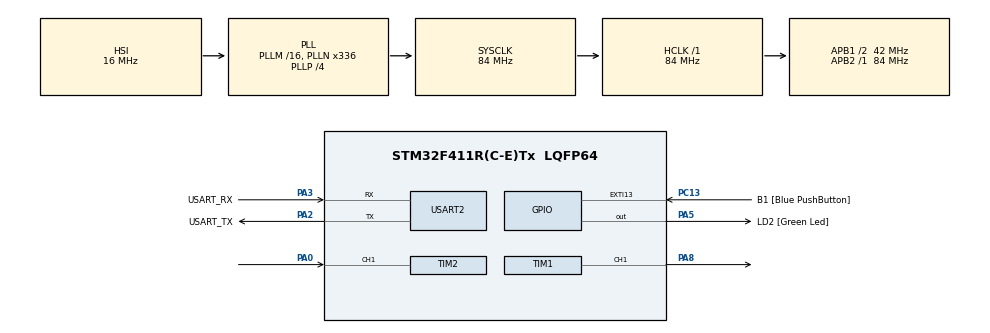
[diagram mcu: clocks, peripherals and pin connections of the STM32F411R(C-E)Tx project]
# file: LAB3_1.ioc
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Dma.Request0=TIM2_CH1
Dma.TIM2_CH1.0.Direction=DMA_PERIPH_TO_MEMORY
Dma.TIM2_CH1.0.FIFOMode=DMA_FIFOMODE_DISABLE
Dma.TIM2_CH1.0.Instance=DMA1_Stream5
Dma.TIM2_CH1.0.MemDataAlignment=DMA_MDATAALIGN_WORD
Dma.TIM2_CH1.0.MemInc=DMA_MINC_ENABLE
Dma.TIM2_CH1.0.Mode=DMA_CIRCULAR
Dma.TIM2_CH1.0.PeriphDataAlignment=DMA_PDATAALIGN_WORD
Dma.TIM2_CH1.0.PeriphInc=DMA_PINC_DISABLE
Dma.TIM2_CH1.0.Priority=DMA_PRIORITY_LOW
Mcu.Family=STM32F4
Mcu.Name=STM32F411R(C-E)Tx
Mcu.Package=LQFP64
NVIC.DMA1_Stream5_IRQn=true\:0\:0\:false\:false\:true\:false\:true\:true
NVIC.PriorityGroup=NVIC_PRIORITYGROUP_0
NVIC.TIM2_IRQn=true\:0\:0\:false\:false\:true\:true\:true\:true
PA0-WKUP.Signal=S_TIM2_CH1_ETR
PA13.GPIO_Label=TMS
PA13.Mode=Serial_Wire
PA13.Signal=SYS_JTMS-SWDIO
PA14.GPIO_Label=TCK
PA14.Mode=Serial_Wire
PA14.Signal=SYS_JTCK-SWCLK
PA2.GPIO_Label=USART_TX
PA2.Mode=Asynchronous
PA2.Signal=USART2_TX
PA3.GPIO_Label=USART_RX
PA3.Mode=Asynchronous
PA3.Signal=USART2_RX
PA5.GPIO_Label=LD2 [Green Led]
PA5.Signal=GPIO_Output
PA8.Signal=S_TIM1_CH1
PB3.GPIO_Label=SWO
PB3.Signal=SYS_JTDO-SWO
PC13-ANTI_TAMP.GPIO_Label=B1 [Blue PushButton]
PC13-ANTI_TAMP.GPIO_ModeDefaultEXTI=GPIO_MODE_IT_FALLING
PC13-ANTI_TAMP.Signal=GPXTI13
PC14-OSC32_IN.Mode=LSE-External-Oscillator
PC14-OSC32_IN.Signal=RCC_OSC32_IN
PC15-OSC32_OUT.Mode=LSE-External-Oscillator
PC15-OSC32_OUT.Signal=RCC_OSC32_OUT
PH0\ -\ OSC_IN.Mode=HSE-External-Clock-Source
PH0\ -\ OSC_IN.Signal=RCC_OSC_IN
PH1\ -\ OSC_OUT.Mode=HSE-External-Clock-Source
PH1\ -\ OSC_OUT.Signal=RCC_OSC_OUT
ProjectManager.HeapSize=0x200
ProjectManager.StackSize=0x400
ProjectManager.TargetToolchain=STM32CubeIDE
RCC.48MHZClocksFreq_Value=84000000
RCC.AHBFreq_Value=84000000
RCC.APB1CLKDivider=RCC_HCLK_DIV2
RCC.APB1Freq_Value=42000000
RCC.APB1TimFreq_Value=84000000
RCC.APB2Freq_Value=84000000
RCC.APB2TimFreq_Value=84000000
RCC.CortexFreq_Value=84000000
RCC.FLatency-AdvancedSettings=FLASH_LATENCY_2
RCC.HCLKFreq_Value=84000000
RCC.HSE_VALUE=8000000
RCC.HSI_VALUE=16000000
RCC.PLLN=336
RCC.PLLP=RCC_PLLP_DIV4
RCC.SYSCLKFreq_VALUE=84000000
RCC.SYSCLKSource=RCC_SYSCLKSOURCE_PLLCLK
RCC.VCOOutputFreq_Value=336000000
SH.S_TIM1_CH1.0=TIM1_CH1,PWM Generation1 CH1
SH.S_TIM2_CH1_ETR.0=TIM2_CH1,Input_Capture1_from_TI1
TIM1.Channel-PWM\ Generation1\ CH1=TIM_CHANNEL_1
TIM1.Period=1000
TIM1.Prescaler=83
TIM1.Pulse-PWM\ Generation1\ CH1=0
TIM2.Channel-Input_Capture1_from_TI1=TIM_CHANNEL_1
TIM2.ICFilter_CH1=10
TIM2.Prescaler=83
USART2.VirtualMode=VM_ASYNC
VP_TIM1_VS_ClockSourceINT.Mode=Internal
VP_TIM2_VS_ClockSourceINT.Mode=Internal
board=NUCLEO-F411RE

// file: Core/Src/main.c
/* USER CODE BEGIN Header */
/**
 ******************************************************************************
 * @file           : main.c
 * @brief          : Main program body
 ******************************************************************************
 * @attention
 *
 * Copyright (c) 2023 STMicroelectronics.
 * All rights reserved.
 *
 * This software is licensed under terms that can be found in the LICENSE file
 * in the root directory of this software component.
 * If no LICENSE file comes with this software, it is provided AS-IS.
 *
 ******************************************************************************
 */
/* USER CODE END Header */
#include "main.h"

/* USER CODE BEGIN Includes */
#define IC_BUFFER_SIZE 20
/* USER CODE END Includes */

TIM_HandleTypeDef htim1;
TIM_HandleTypeDef htim2;
DMA_HandleTypeDef hdma_tim2_ch1;

UART_HandleTypeDef huart2;

/* USER CODE BEGIN PV */
uint8_t MotorSetDuty = 100;
float Duty;
uint8_t MotorControlEnable = 0;

uint32_t InputCaptureBuffer[IC_BUFFER_SIZE];
float avg;
float SumError=0;

float MotorReadRPM;
float MotorSetRPM;

float Kp=1;
float Ki=0;
float eintegral=0;
float debug=9;
/* USER CODE END PV */

void SystemClock_Config(void);
static void MX_GPIO_Init(void);
static void MX_DMA_Init(void);
static void MX_USART2_UART_Init(void);
static void MX_TIM1_Init(void);
static void MX_TIM2_Init(void);
/* USER CODE BEGIN PFP */
float IC_Calc_Period();
float ConvertRPM(float input);
float ConvertDuty(float input);
float Control(float setRPM,float readRPM);
/* USER CODE END PFP */

int main(void)
{

  /* MCU Configuration--------------------------------------------------------*/

  /* Reset of all peripherals, Initializes the Flash interface and the Systick. */
  HAL_Init();

  /* Configure the system clock */
  SystemClock_Config();

  /* Initialize all configured peripherals */
  MX_GPIO_Init();
  MX_DMA_Init();
  MX_USART2_UART_Init();
  MX_TIM1_Init();
  MX_TIM2_Init();
  /* USER CODE BEGIN 2 */
	HAL_TIM_Base_Start(&htim1);
	HAL_TIM_PWM_Start(&htim1, TIM_CHANNEL_1);

	HAL_TIM_Base_Start(&htim2);
	HAL_TIM_IC_Start_DMA(&htim2, TIM_CHANNEL_1, InputCaptureBuffer,
			IC_BUFFER_SIZE);
  /* USER CODE END 2 */

  /* Infinite loop */
	while (1) {

    /* USER CODE BEGIN 3 */

		static uint32_t timestamp = 0;
		if (HAL_GetTick() >= timestamp) {
			timestamp = HAL_GetTick() + 5;
			avg=IC_Calc_Period();
			__HAL_TIM_SET_COMPARE(&htim1, TIM_CHANNEL_1, Duty * 10);
			MotorReadRPM=ConvertRPM(avg);
			switch(MotorControlEnable){
			case 0: Duty=MotorSetDuty;
					SumError=0;
				break;
			case 1:Duty=Control(MotorSetRPM, MotorReadRPM);
				break;
			case 2:if(MotorSetRPM>=20)MotorSetRPM=9;
				else MotorSetRPM+=0.1;
				Duty=Control(MotorSetRPM, MotorReadRPM);
				break;
			}
		}
	}
  /* USER CODE END 3 */
}

void SystemClock_Config(void)
{
  RCC_OscInitTypeDef RCC_OscInitStruct = {0};
  RCC_ClkInitTypeDef RCC_ClkInitStruct = {0};

  /** Configure the main internal regulator output voltage
  */
  __HAL_RCC_PWR_CLK_ENABLE();
  __HAL_PWR_VOLTAGESCALING_CONFIG(PWR_REGULATOR_VOLTAGE_SCALE1);

  /** Initializes the RCC Oscillators according to the specified parameters
  * in the RCC_OscInitTypeDef structure.
  */
  RCC_OscInitStruct.OscillatorType = RCC_OSCILLATORTYPE_HSI;
  RCC_OscInitStruct.HSIState = RCC_HSI_ON;
  RCC_OscInitStruct.HSICalibrationValue = RCC_HSICALIBRATION_DEFAULT;
  RCC_OscInitStruct.PLL.PLLState = RCC_PLL_ON;
  RCC_OscInitStruct.PLL.PLLSource = RCC_PLLSOURCE_HSI;
  RCC_OscInitStruct.PLL.PLLM = 16;
  RCC_OscInitStruct.PLL.PLLN = 336;
  RCC_OscInitStruct.PLL.PLLP = RCC_PLLP_DIV4;
  RCC_OscInitStruct.PLL.PLLQ = 4;
  if (HAL_RCC_OscConfig(&RCC_OscInitStruct) != HAL_OK)
  {
    Error_Handler();
  }

  /** Initializes the CPU, AHB and APB buses clocks
  */
  RCC_ClkInitStruct.ClockType = RCC_CLOCKTYPE_HCLK|RCC_CLOCKTYPE_SYSCLK
                              |RCC_CLOCKTYPE_PCLK1|RCC_CLOCKTYPE_PCLK2;
  RCC_ClkInitStruct.SYSCLKSource = RCC_SYSCLKSOURCE_PLLCLK;
  RCC_ClkInitStruct.AHBCLKDivider = RCC_SYSCLK_DIV1;
  RCC_ClkInitStruct.APB1CLKDivider = RCC_HCLK_DIV2;
  RCC_ClkInitStruct.APB2CLKDivider = RCC_HCLK_DIV1;

  if (HAL_RCC_ClockConfig(&RCC_ClkInitStruct, FLASH_LATENCY_2) != HAL_OK)
  {
    Error_Handler();
  }
}

static void MX_TIM1_Init(void)
{

  TIM_ClockConfigTypeDef sClockSourceConfig = {0};
  TIM_MasterConfigTypeDef sMasterConfig = {0};
  TIM_OC_InitTypeDef sConfigOC = {0};
  TIM_BreakDeadTimeConfigTypeDef sBreakDeadTimeConfig = {0};

  htim1.Instance = TIM1;
  htim1.Init.Prescaler = 83;
  htim1.Init.CounterMode = TIM_COUNTERMODE_UP;
  htim1.Init.Period = 1000;
  htim1.Init.ClockDivision = TIM_CLOCKDIVISION_DIV1;
  htim1.Init.RepetitionCounter = 0;
  htim1.Init.AutoReloadPreload = TIM_AUTORELOAD_PRELOAD_DISABLE;
  if (HAL_TIM_Base_Init(&htim1) != HAL_OK)
  {
    Error_Handler();
  }
  sClockSourceConfig.ClockSource = TIM_CLOCKSOURCE_INTERNAL;
  if (HAL_TIM_ConfigClockSource(&htim1, &sClockSourceConfig) != HAL_OK)
  {
    Error_Handler();
  }
  if (HAL_TIM_PWM_Init(&htim1) != HAL_OK)
  {
    Error_Handler();
  }
  sMasterConfig.MasterOutputTrigger = TIM_TRGO_RESET;
  sMasterConfig.MasterSlaveMode = TIM_MASTERSLAVEMODE_DISABLE;
  if (HAL_TIMEx_MasterConfigSynchronization(&htim1, &sMasterConfig) != HAL_OK)
  {
    Error_Handler();
  }
  sConfigOC.OCMode = TIM_OCMODE_PWM1;
  sConfigOC.Pulse = 0;
  sConfigOC.OCPolarity = TIM_OCPOLARITY_HIGH;
  sConfigOC.OCNPolarity = TIM_OCNPOLARITY_HIGH;
  sConfigOC.OCFastMode = TIM_OCFAST_DISABLE;
  sConfigOC.OCIdleState = TIM_OCIDLESTATE_RESET;
  sConfigOC.OCNIdleState = TIM_OCNIDLESTATE_RESET;
  if (HAL_TIM_PWM_ConfigChannel(&htim1, &sConfigOC, TIM_CHANNEL_1) != HAL_OK)
  {
    Error_Handler();
  }
  sBreakDeadTimeConfig.OffStateRunMode = TIM_OSSR_DISABLE;
  sBreakDeadTimeConfig.OffStateIDLEMode = TIM_OSSI_DISABLE;
  sBreakDeadTimeConfig.LockLevel = TIM_LOCKLEVEL_OFF;
  sBreakDeadTimeConfig.DeadTime = 0;
  sBreakDeadTimeConfig.BreakState = TIM_BREAK_DISABLE;
  sBreakDeadTimeConfig.BreakPolarity = TIM_BREAKPOLARITY_HIGH;
  sBreakDeadTimeConfig.AutomaticOutput = TIM_AUTOMATICOUTPUT_DISABLE;
  if (HAL_TIMEx_ConfigBreakDeadTime(&htim1, &sBreakDeadTimeConfig) != HAL_OK)
  {
    Error_Handler();
  }
  HAL_TIM_MspPostInit(&htim1);

}

static void MX_TIM2_Init(void)
{

  TIM_ClockConfigTypeDef sClockSourceConfig = {0};
  TIM_MasterConfigTypeDef sMasterConfig = {0};
  TIM_IC_InitTypeDef sConfigIC = {0};

  htim2.Instance = TIM2;
  htim2.Init.Prescaler = 83;
  htim2.Init.CounterMode = TIM_COUNTERMODE_UP;
  htim2.Init.Period = 4294967295;
  htim2.Init.ClockDivision = TIM_CLOCKDIVISION_DIV1;
  htim2.Init.AutoReloadPreload = TIM_AUTORELOAD_PRELOAD_DISABLE;
  if (HAL_TIM_Base_Init(&htim2) != HAL_OK)
  {
    Error_Handler();
  }
  sClockSourceConfig.ClockSource = TIM_CLOCKSOURCE_INTERNAL;
  if (HAL_TIM_ConfigClockSource(&htim2, &sClockSourceConfig) != HAL_OK)
  {
    Error_Handler();
  }
  if (HAL_TIM_IC_Init(&htim2) != HAL_OK)
  {
    Error_Handler();
  }
  sMasterConfig.MasterOutputTrigger = TIM_TRGO_RESET;
  sMasterConfig.MasterSlaveMode = TIM_MASTERSLAVEMODE_DISABLE;
  if (HAL_TIMEx_MasterConfigSynchronization(&htim2, &sMasterConfig) != HAL_OK)
  {
    Error_Handler();
  }
  sConfigIC.ICPolarity = TIM_INPUTCHANNELPOLARITY_RISING;
  sConfigIC.ICSelection = TIM_ICSELECTION_DIRECTTI;
  sConfigIC.ICPrescaler = TIM_ICPSC_DIV1;
  sConfigIC.ICFilter = 10;
  if (HAL_TIM_IC_ConfigChannel(&htim2, &sConfigIC, TIM_CHANNEL_1) != HAL_OK)
  {
    Error_Handler();
  }

}

static void MX_USART2_UART_Init(void)
{

  huart2.Instance = USART2;
  huart2.Init.BaudRate = 115200;
  huart2.Init.WordLength = UART_WORDLENGTH_8B;
  huart2.Init.StopBits = UART_STOPBITS_1;
  huart2.Init.Parity = UART_PARITY_NONE;
  huart2.Init.Mode = UART_MODE_TX_RX;
  huart2.Init.HwFlowCtl = UART_HWCONTROL_NONE;
  huart2.Init.OverSampling = UART_OVERSAMPLING_16;
  if (HAL_UART_Init(&huart2) != HAL_OK)
  {
    Error_Handler();
  }

}

static void MX_DMA_Init(void)
{

  /* DMA controller clock enable */
  __HAL_RCC_DMA1_CLK_ENABLE();

  /* DMA interrupt init */
  /* DMA1_Stream5_IRQn interrupt configuration */
  HAL_NVIC_SetPriority(DMA1_Stream5_IRQn, 0, 0);
  HAL_NVIC_EnableIRQ(DMA1_Stream5_IRQn);

}

static void MX_GPIO_Init(void)
{
  GPIO_InitTypeDef GPIO_InitStruct = {0};

  /* GPIO Ports Clock Enable */
  __HAL_RCC_GPIOC_CLK_ENABLE();
  __HAL_RCC_GPIOH_CLK_ENABLE();
  __HAL_RCC_GPIOA_CLK_ENABLE();
  __HAL_RCC_GPIOB_CLK_ENABLE();

  /*Configure GPIO pin Output Level */
  HAL_GPIO_WritePin(LD2_GPIO_Port, LD2_Pin, GPIO_PIN_RESET);

  /*Configure GPIO pin : B1_Pin */
  GPIO_InitStruct.Pin = B1_Pin;
  GPIO_InitStruct.Mode = GPIO_MODE_IT_FALLING;
  GPIO_InitStruct.Pull = GPIO_NOPULL;
  HAL_GPIO_Init(B1_GPIO_Port, &GPIO_InitStruct);

  /*Configure GPIO pin : LD2_Pin */
  GPIO_InitStruct.Pin = LD2_Pin;
  GPIO_InitStruct.Mode = GPIO_MODE_OUTPUT_PP;
  GPIO_InitStruct.Pull = GPIO_NOPULL;
  GPIO_InitStruct.Speed = GPIO_SPEED_FREQ_LOW;
  HAL_GPIO_Init(LD2_GPIO_Port, &GPIO_InitStruct);

}

/* USER CODE BEGIN 4 */
float IC_Calc_Period() {
	uint32_t currentDMAPointer = IC_BUFFER_SIZE
			- __HAL_DMA_GET_COUNTER((htim2.hdma[1]));
	uint32_t lastVaildDMAPointer = (currentDMAPointer - 1 + IC_BUFFER_SIZE)
			% IC_BUFFER_SIZE;
	uint32_t i = (lastVaildDMAPointer + IC_BUFFER_SIZE - 5) % IC_BUFFER_SIZE;
	float sumdiff = 0;
	while (i != lastVaildDMAPointer) {
		uint32_t first = InputCaptureBuffer[i];
		uint32_t next = InputCaptureBuffer[(i + 1) % IC_BUFFER_SIZE];
		sumdiff += next - first;
		i = (i + 1) % IC_BUFFER_SIZE;
	}
	return (sumdiff/5.0)*12.0;
}
float ConvertRPM(float input){
	float rpm=60000000.0/(input*64.0);
	//if(rpm>100)rpm=100;
	//if(rpm<0)rpm=-1;
	return rpm;
}
float ConvertDuty(float input){
	return (input/20.0)*100.0;
}
float Control(float setRPM,float readRPM){
	float error=setRPM-readRPM;
	eintegral=eintegral+(error*0.005);
	if(eintegral>20)eintegral=20;
	float u=(Kp*error)+(Ki*eintegral);
	if(u>100)u=100;
	return u;
}
//float ConvertDuty
/* USER CODE END 4 */

void Error_Handler(void)
{
	__disable_irq();
	while (1) {
	}
}
